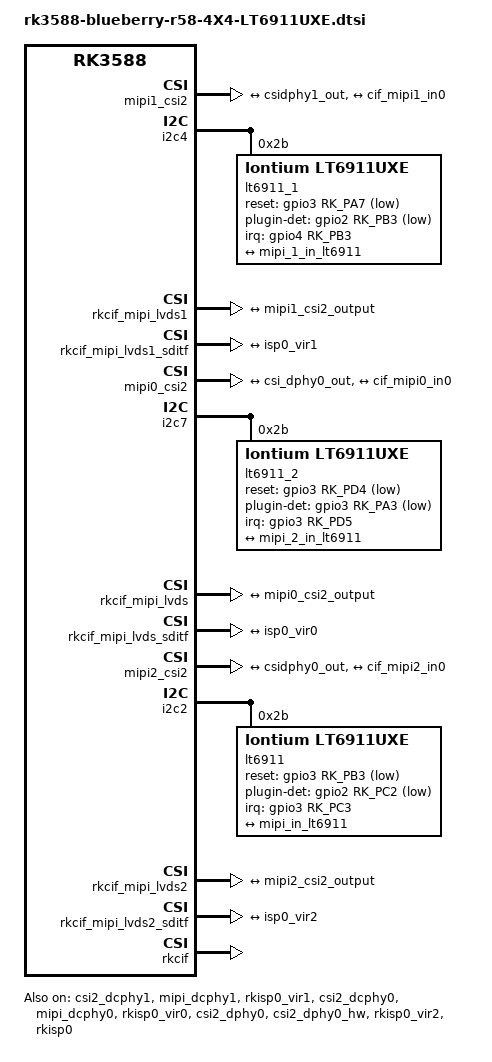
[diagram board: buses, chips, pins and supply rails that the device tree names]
// SPDX-License-Identifier: (GPL-2.0+ OR MIT)
/*
 * Copyright (c) 2021 Rockchip Electronics Co., Ltd.
 *
 */

#include "dt-bindings/usb/pd.h"


#if 1
/* lt6911 01 hdmi in */

&mipi1_csi2 {
	status = "okay";

	ports {
		#address-cells = <1>;
		#size-cells = <0>;

		port@0 {
			reg = <0>;
			#address-cells = <1>;
			#size-cells = <0>;

			mipi1_csi2_input: endpoint@1 {
				reg = <1>;
				remote-endpoint = <&csidphy1_out>;
			};
		};

		port@1 {
			reg = <1>;
			#address-cells = <1>;
			#size-cells = <0>;

			mipi1_csi2_output: endpoint@0 {
				reg = <0>;
				remote-endpoint = <&cif_mipi1_in0>;
			};
		};
	};
};

&csi2_dcphy1 {
	status = "okay";

	ports {
		#address-cells = <1>;
		#size-cells = <0>;
		port@0 {
			reg = <0>;
			#address-cells = <1>;
			#size-cells = <0>;

			mipi_1_in_lt6911: endpoint@1 {
				reg = <1>;
				remote-endpoint = <&lt6911_1_out>;
				data-lanes = <1 2 3 4>;
			};
		};
		port@1 {
			reg = <1>;
			#address-cells = <1>;
			#size-cells = <0>;

			csidphy1_out: endpoint@0 {
				reg = <0>;
				remote-endpoint = <&mipi1_csi2_input>;
			};
		};
	};
};

&mipi_dcphy1 {
	status = "okay";
};

&i2c4 {
	pinctrl-names = "default";
	pinctrl-0 = <&i2c4m0_xfer>;
	status = "okay";

	lt6911_1:lt6911_1@2b {
		compatible = "lontium,lt6911uxe";
		status = "okay";
		reg = <0x2b>;
		clocks = <&ext_cam_clk>;
		clock-names = "xvclk";
		power-domains = <&power RK3588_PD_VI>;
		pinctrl-names = "default";
		pinctrl-0 = <&lt6911uxc_1_pin>;
		interrupt-parent = <&gpio4>;              
		interrupts = <RK_PB3 IRQ_TYPE_LEVEL_LOW>; 
		//power-gpios = <&gpio3 RK_PB2 GPIO_ACTIVE_HIGH>;
		reset-gpios = <&gpio3 RK_PA7 GPIO_ACTIVE_LOW>;
		plugin-det-gpios = <&gpio2 RK_PB3 GPIO_ACTIVE_LOW>;
		rockchip,camera-module-index = <0>;
		rockchip,camera-module-facing = "back";
		rockchip,camera-module-name = "HDMI-MIPI2";
		rockchip,camera-module-lens-name = "LT6911UXE";
		port {
			lt6911_1_out: endpoint {
				remote-endpoint = <&mipi_1_in_lt6911>;
				data-lanes = <1 2 3 4>;
			};
		};
	};
};


&rkcif_mipi_lvds1 {
	status = "okay";

	port {
		cif_mipi1_in0: endpoint {
			remote-endpoint = <&mipi1_csi2_output>;
		};
	};
};

&rkcif_mipi_lvds1_sditf {
	status = "okay";

	port {
		mipi_lvds1_sditf: endpoint {
			remote-endpoint = <&isp0_vir1>;
		};
	};
};

&rkisp0_vir1 {
	status = "okay";

	port {
		#address-cells = <1>;
		#size-cells = <0>;

		isp0_vir1: endpoint@0 {
			reg = <0>;
			remote-endpoint = <&mipi_lvds1_sditf>;
		};
	};
};

/* lt6911 01 hdmi in end*/ 
#endif

#if 1
/* lt6911 02 hdmi in */

&mipi0_csi2 {
	status = "okay";

	ports {
		#address-cells = <1>;
		#size-cells = <0>;

		port@0 {
			reg = <0>;
			#address-cells = <1>;
			#size-cells = <0>;

			mipi0_csi2_input: endpoint@1 {
				reg = <1>;
				remote-endpoint = <&csi_dphy0_out>;
			};
		};

		port@1 {
			reg = <1>;
			#address-cells = <1>;
			#size-cells = <0>;

			mipi0_csi2_output: endpoint@0 {
				reg = <0>;
				remote-endpoint = <&cif_mipi0_in0>;
			};
		};
	};
};

&csi2_dcphy0 {
	status = "okay";

	ports {
		#address-cells = <1>;
		#size-cells = <0>;
		port@0 {
			reg = <0>;
			#address-cells = <1>;
			#size-cells = <0>;

			mipi_2_in_lt6911: endpoint@1 {
				reg = <1>;
				remote-endpoint = <&lt6911_2_out>;
				data-lanes = <1 2 3 4>;
			};
		};
		port@1 {
			reg = <1>;
			#address-cells = <1>;
			#size-cells = <0>;

			csi_dphy0_out: endpoint@0 {
				reg = <0>;
				remote-endpoint = <&mipi0_csi2_input>;
			};
		};
	};
};

&mipi_dcphy0 {
	status = "okay";
};

&i2c7 {
	pinctrl-names = "default";
	pinctrl-0 = <&i2c7m2_xfer>;
	status = "okay";

	lt6911_2:lt6911_2@2b {
		compatible = "lontium,lt6911uxe";
		status = "okay";
		reg = <0x2b>;
		clocks = <&ext_cam_clk>;
		clock-names = "xvclk";
		power-domains = <&power RK3588_PD_VI>;
		pinctrl-names = "default";
		pinctrl-0 = <&lt6911uxc_2_pin>;
		interrupt-parent = <&gpio3>;              
		interrupts = <RK_PD5 IRQ_TYPE_LEVEL_LOW>; 
		//power-gpios = <&gpio3 RK_PB2 GPIO_ACTIVE_HIGH>;
		reset-gpios = <&gpio3 RK_PD4 GPIO_ACTIVE_LOW>;
		plugin-det-gpios = <&gpio3 RK_PA3 GPIO_ACTIVE_LOW>;
		rockchip,camera-module-index = <1>;
		rockchip,camera-module-facing = "back";
		rockchip,camera-module-name = "HDMI-MIPI2";
		rockchip,camera-module-lens-name = "LT6911UXE1";
		port {
			lt6911_2_out: endpoint {
				remote-endpoint = <&mipi_2_in_lt6911>;
				data-lanes = <1 2 3 4>;
			};
		};
	};
};


&rkcif_mipi_lvds {
	status = "okay";

	port {
		cif_mipi0_in0: endpoint {
			remote-endpoint = <&mipi0_csi2_output>;
		};
	};
};

&rkcif_mipi_lvds_sditf {
	status = "okay";

	port {
		mipi_lvds_sditf: endpoint {
			remote-endpoint = <&isp0_vir0>;
		};
	};
};

&rkisp0_vir0 {
	status = "okay";

	port {
		#address-cells = <1>;
		#size-cells = <0>;

		isp0_vir0: endpoint@0 {
			reg = <0>;
			remote-endpoint = <&mipi_lvds_sditf>;
		};
	};
};

/* lt6911 02 hdmi in end*/ 
#endif

#if 1
/* lt6911 03 hdmi in (4 x lane ) */

&mipi2_csi2 {
	status = "okay";

	ports {
		#address-cells = <1>;
		#size-cells = <0>;

		port@0 {
			reg = <0>;
			#address-cells = <1>;
			#size-cells = <0>;

			mipi2_csi2_input: endpoint@1 {
				reg = <1>;
				remote-endpoint = <&csidphy0_out>;
			};
		};

		port@1 {
			reg = <1>;
			#address-cells = <1>;
			#size-cells = <0>;

			mipi2_csi2_output: endpoint@0 {
				reg = <0>;
				remote-endpoint = <&cif_mipi2_in0>;
			};
		};
	};
};

&csi2_dphy0 {
	status = "okay";
		
	ports {
		#address-cells = <1>;
		#size-cells = <0>;
		port@0 {
			reg = <0>;
			#address-cells = <1>;
			#size-cells = <0>;

			mipi_in_lt6911: endpoint@1 {
				reg = <1>;
				remote-endpoint = <&lt6911_out>;
				data-lanes = <1 2 3 4>;
			};
		};
		port@1 {
			reg = <1>;
			#address-cells = <1>;
			#size-cells = <0>;

			csidphy0_out: endpoint@0 {
				reg = <0>;
				remote-endpoint = <&mipi2_csi2_input>;
			};
		};
	};
};

&csi2_dphy0_hw {
	status = "okay";
};

&i2c2 {
	pinctrl-names = "default";
	pinctrl-0 = <&i2c2m0_xfer>;
	status = "okay";

	lt6911:lt6911@2b {
		compatible = "lontium,lt6911uxe";
		status = "okay";
		reg = <0x2b>;
		clocks = <&ext_cam_clk>;
		clock-names = "xvclk";
		power-domains = <&power RK3588_PD_VI>;
		pinctrl-names = "default";
		pinctrl-0 = <&lt6911uxc_3_pin>;
		interrupt-parent = <&gpio3>;              
		interrupts = <RK_PC3 IRQ_TYPE_LEVEL_LOW>; 
		//power-gpios = <&gpio3 RK_PB2 GPIO_ACTIVE_HIGH>;
		reset-gpios = <&gpio3 RK_PB3 GPIO_ACTIVE_LOW>;
		plugin-det-gpios = <&gpio2 RK_PC2 GPIO_ACTIVE_LOW>;
		rockchip,camera-module-index = <2>;
		rockchip,camera-module-facing = "back";
		rockchip,camera-module-name = "HDMI-MIPI2";
		rockchip,camera-module-lens-name = "LT6911UXE2";
		port {
			lt6911_out: endpoint {
				remote-endpoint = <&mipi_in_lt6911>;
				data-lanes = <1 2 3 4>;
			};
		};
	};
};

&rkcif_mipi_lvds2 {
	status = "okay";

	port {
		cif_mipi2_in0: endpoint {
			remote-endpoint = <&mipi2_csi2_output>;
		};
	};
};

&rkcif_mipi_lvds2_sditf {
	status = "okay";

	port {
		mipi_lvds2_sditf: endpoint {
			remote-endpoint = <&isp0_vir2>;
		};
	};
};


&rkisp0_vir2 {
	status = "okay";

	port {
		#address-cells = <1>;
		#size-cells = <0>;

		isp0_vir2: endpoint@0 {
			reg = <0>;
			remote-endpoint = <&mipi_lvds2_sditf>;
		};
	};
};

/* lt6911 03 hdmi in end (4 x lane ) */ 

#endif


&rkcif {
	status = "okay";
};

&rkcif_mmu {
	status = "okay";
};

&rkisp0 {
	status = "okay";
};

&isp0_mmu {
	status = "okay";
};

#if 0
/* lt6911 03 hdmi in  ( 2xlane  MIPI_CSI0_D2 MIPI_CSI0_D3 )*/

&mipi3_csi2 {
	status = "okay";

	ports {
		#address-cells = <1>;
		#size-cells = <0>;

		port@0 {
			reg = <0>;
			#address-cells = <1>;
			#size-cells = <0>;

			mipi3_csi2_input: endpoint@1 {
				reg = <1>;
				remote-endpoint = <&csidphy0_out>;
			};
		};

		port@1 {
			reg = <1>;
			#address-cells = <1>;
			#size-cells = <0>;

			mipi3_csi2_output: endpoint@0 {
				reg = <0>;
				remote-endpoint = <&cif_mipi3_in0>;
			};
		};
	};
};

&csi2_dphy2 {
	status = "okay";
		
	ports {
		#address-cells = <1>;
		#size-cells = <0>;
		port@0 {
			reg = <0>;
			#address-cells = <1>;
			#size-cells = <0>;

			mipi_in_lt6911: endpoint@1 {
				reg = <1>;
				remote-endpoint = <&lt6911_out>;
				data-lanes = <1 2>;
			};
		};
		port@1 {
			reg = <1>;
			#address-cells = <1>;
			#size-cells = <0>;

			csidphy0_out: endpoint@0 {
				reg = <0>;
				remote-endpoint = <&mipi3_csi2_input>;
			};
		};
	};
};

&csi2_dphy0_hw {
	status = "okay";
};

&i2c2 {
	pinctrl-names = "default";
	pinctrl-0 = <&i2c2m0_xfer>;
	status = "okay";

	lt6911:lt6911@2b {
		compatible = "lontium,lt6911uxe";
		status = "okay";
		reg = <0x2b>;
		clocks = <&ext_cam_clk>;
		clock-names = "xvclk";
		power-domains = <&power RK3588_PD_VI>;
		pinctrl-names = "default";
		pinctrl-0 = <&lt6911uxc_3_pin>;
		interrupt-parent = <&gpio3>;              
		interrupts = <RK_PC3 IRQ_TYPE_LEVEL_LOW>; 
		//power-gpios = <&gpio3 RK_PB2 GPIO_ACTIVE_HIGH>;
		reset-gpios = <&gpio3 RK_PB3 GPIO_ACTIVE_LOW>;
		plugin-det-gpios = <&gpio2 RK_PC2 GPIO_ACTIVE_LOW>;
		rockchip,camera-module-index = <2>;
		rockchip,camera-module-facing = "back";
		rockchip,camera-module-name = "HDMI-MIPI2";
		rockchip,camera-module-lens-name = "LT6911UXE2";
		port {
			lt6911_out: endpoint {
				remote-endpoint = <&mipi_in_lt6911>;
				data-lanes = <1 2>;
			};
		};
	};
};

&rkcif_mipi_lvds3 {
	status = "okay";

	port {
		cif_mipi3_in0: endpoint {
			remote-endpoint = <&mipi3_csi2_output>;
		};
	};
};

&rkcif_mipi_lvds3_sditf {
	status = "okay";

	port {
		mipi_lvds3_sditf: endpoint {
			remote-endpoint = <&isp1_vir0>;
		};
	};
};

&rkisp1 {
	status = "okay";
};

&isp1_mmu {
	status = "okay";
};

&rkisp1_vir0 {
	status = "okay";

	port {
		#address-cells = <1>;
		#size-cells = <0>;

		isp1_vir0: endpoint@0 {
			reg = <0>;
			remote-endpoint = <&mipi_lvds3_sditf>;
		};
	};
};

/* lt6911 03 hdmi in end*/ 

#endif

&pinctrl {

	hdmiin {
		lt6911uxc_1_pin: lt6911uxc-1-pin {
			rockchip,pins = <2 RK_PB3 RK_FUNC_GPIO &pcfg_pull_none>,// HDMIRX_DET_LT6911
					<4 RK_PB3 RK_FUNC_GPIO &pcfg_pull_none>,        // LT6911UXC_INT
					<3 RK_PA7 RK_FUNC_GPIO &pcfg_pull_none>;        // LT6911_RST
			};
			
		lt6911uxc_2_pin: lt6911uxc-2-pin {
			rockchip,pins = <3 RK_PA3 RK_FUNC_GPIO &pcfg_pull_none>,// HDMIRX_DET_LT6911
					<3 RK_PD5 RK_FUNC_GPIO &pcfg_pull_none>,        // LT6911UXC_INT
					<3 RK_PD4 RK_FUNC_GPIO &pcfg_pull_none>;        // LT6911_RST
			};	
			
		lt6911uxc_3_pin: lt6911uxc-3-pin {
			rockchip,pins = <2 RK_PC2 RK_FUNC_GPIO &pcfg_pull_none>,// HDMIRX_DET_LT6911
					<3 RK_PC3 RK_FUNC_GPIO &pcfg_pull_none>,        // LT6911UXC_INT
					<3 RK_PB3 RK_FUNC_GPIO &pcfg_pull_none>;        // LT6911_RST
			};
			
		};
};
